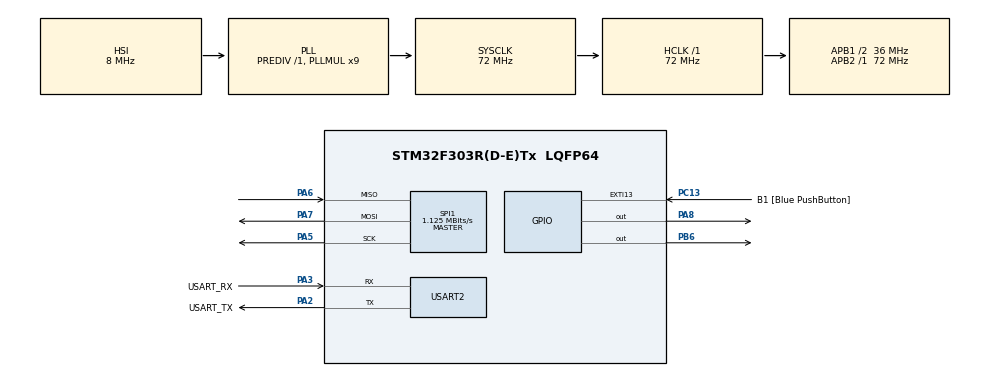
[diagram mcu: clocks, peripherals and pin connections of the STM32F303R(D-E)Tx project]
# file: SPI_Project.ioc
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Mcu.Family=STM32F3
PA2.GPIO_PuPd=GPIO_NOPULL
PA6.Mode=Full_Duplex_Master
RCC.CortexFreq_Value=72000000
SPI1.VirtualType=VM_MASTER
PA14.GPIO_Label=TCK
RCC.SYSCLKSourceVirtual=RCC_SYSCLKSOURCE_PLLCLK
PA3.GPIO_PuPd=GPIO_NOPULL
PA2.GPIO_Speed=GPIO_SPEED_FREQ_LOW
PC13.GPIO_Label=B1 [Blue PushButton]
PA3.GPIO_Speed=GPIO_SPEED_FREQ_LOW
ProjectManager.StackSize=0x400
SPI1.Direction=SPI_DIRECTION_2LINES
RCC.HCLKFreq_Value=72000000
RCC.APB2TimFreq_Value=72000000
PB6.Signal=GPIO_Output
SPI1.CalculateBaudRate=1.125 MBits/s
RCC.AHBFreq_Value=72000000
RCC.HSE_VALUE=8000000
USART2.VirtualMode-Asynchronous=VM_ASYNC
RCC.RCC_PLLsource_Clock_Source_FROM_HSE=RCC_HSE_PREDIV_DIV2
RCC.PLLMUL=RCC_PLL_MUL9
PC14-OSC32_IN.Mode=LSE-External-Oscillator
PA14.Mode=Serial_Wire
SPI1.DataSize=SPI_DATASIZE_8BIT
PA8.Signal=GPIO_Output
Mcu.Package=LQFP64
PA6.Signal=SPI1_MISO
PA2.GPIO_Label=USART_TX
RCC.APB1TimFreq_Value=72000000
SPI1.BaudRatePrescaler=SPI_BAUDRATEPRESCALER_64
PF1-OSC_OUT.Signal=RCC_OSC_OUT
PA3.Signal=USART2_RX
PA5.Mode=Full_Duplex_Master
PA2.GPIO_Mode=GPIO_MODE_AF_PP
PB3.GPIO_Label=SWO
PC15-OSC32_OUT.Mode=LSE-External-Oscillator
PA7.Mode=Full_Duplex_Master
PC13.Signal=GPXTI13
RCC.APB1CLKDivider=RCC_HCLK_DIV2
PC14-OSC32_IN.Signal=RCC_OSC32_IN
PA3.Mode=Asynchronous
PA13.Signal=SYS_JTMS-SWDIO
ProjectManager.TargetToolchain=STM32CubeIDE
PA3.GPIO_Mode=GPIO_MODE_AF_PP
RCC.USBFreq_Value=72000000
PC15-OSC32_OUT.Signal=RCC_OSC32_OUT
PF0-OSC_IN.Mode=HSE-External-Clock-Source
PA5.Signal=SPI1_SCK
board=NUCLEO-F303RE
RCC.APB2Freq_Value=72000000
SPI1.Mode=SPI_MODE_MASTER
PA13.Mode=Serial_Wire
Mcu.Name=STM32F303R(D-E)Tx
SPI1.NSSPMode=SPI_NSS_PULSE_DISABLE
PA13.GPIO_Label=TMS
PA2.Signal=USART2_TX
PB3.Signal=SYS_JTDO-TRACESWO
RCC.SYSCLKFreq_VALUE=72000000
PC13.GPIO_ModeDefaultEXTI=GPIO_MODE_IT_FALLING
PA14.Signal=SYS_JTCK-SWCLK
ProjectManager.HeapSize=0x200
RCC.HSI_VALUE=8000000
RCC.PLLP=RCC_PLLP_DIV4
RCC.PLLQ=7
NVIC.PriorityGroup=NVIC_PRIORITYGROUP_0
RCC.PLLM=8
RCC.PLLN=336
PA2.Mode=Asynchronous
PF0-OSC_IN.Signal=RCC_OSC_IN
RCC.APB1Freq_Value=36000000
PA3.GPIO_Label=USART_RX
PA7.Signal=SPI1_MOSI

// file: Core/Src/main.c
/* USER CODE BEGIN Header */
/**
  ******************************************************************************
  * @file           : main.c
  * @brief          : Main program body
  ******************************************************************************
  * @attention
  *
  * <h2><center>&copy; Copyright (c) 2021 STMicroelectronics.
  * All rights reserved.</center></h2>
  *
  * This software component is licensed by ST under BSD 3-Clause license,
  * the "License"; You may not use this file except in compliance with the
  * License. You may obtain a copy of the License at:
  *                        opensource.org/licenses/BSD-3-Clause
  *
  ******************************************************************************
  */

/*                  Description of the Project:
 *                  The aim of the project is to prepare a generic spi_eeprom library by writing a spi_eeprom.h file and a spi_eeprom.c file.
 *                  Emphesis is given on mainly
 *                  1. To write data in a particular memory address and again read the written data from that particular memory address
 *                  2. To write data in a block area of the memory and again read the written data from that memory area
 *                  3. To erase the data of a block area of memory
 *                  4. In each case the status register will return the current status after execution
 *                  5. To detect errors when there are some issues with EEPROM
 *                                                                                         */

/* Facts to be noted:
 *                    1. St M9560W eeprom is a 16kB or 2kilo Bytes memory.
 *                    2. There are in total 64 Pages from 0 to 63.
 *                    3. Each page contains 32bytes that means 32 cells as data is 1byte. 64x32=2048 byte=2kbyte.
 *                    4  The starting address of the memory is 0000h which locates the beginning of the first page
 *                    5. The end address of the memory is 07FFh which locates at the end of the last page
 *                    6. At a time we can write and read 32 bytes maximum as the page size is 32
 *                    7. For sending more than 32 bytes we need page mapping */

/* USER CODE END Header */

#include "main.h"
#include"spi_eeprom.h"
#include "main.h"
#include <stdio.h>
#include<stdlib.h>

SPI_HandleTypeDef hspi1;
UART_HandleTypeDef huart2;

void SystemClock_Config(void);
static void MX_GPIO_Init(void);
static void MX_USART2_UART_Init(void);
static void MX_SPI1_Init(void);

/* USER CODE BEGIN 0 */

uint16_t Start_Add=25;                // Address for write or read buffer
uint8_t  Tx[Max_Size];                //Transmit
uint8_t  Rx[Max_Size];                //recieve
uint16_t Erase_Add=0x00;              // Address to be checked whether it is erased or not
uint16_t Byte_Address= 0xaa;          // Byte address to write one byte
uint8_t  Byte_Data=60;                // Byte that will be written
uint8_t  Recieved_byte;               // Recieved byte after writting

/* USER CODE END 0 */

int main(void)
{
  /* USER CODE BEGIN 1 */
	  char uart_buf[500];
	  int uart_buf_len;

	  for(int i =0; i<Max_Size; i++)
	  {
		  Tx[i]= i+10;
	  }

  /* USER CODE END 1 */

  /* MCU Configuration--------------------------------------------------------*/

  /* Reset of all peripherals, Initializes the Flash interface and the Systick. */
  HAL_Init();

  /* Configure the system clock */
  SystemClock_Config();

  /* Initialize all configured peripherals */
  MX_GPIO_Init();
  MX_USART2_UART_Init();
  MX_SPI1_Init();
  EEPROM_SPI_INIT(&hspi1);
  /* USER CODE BEGIN 2 */

  // Say something
  uart_buf_len = sprintf(uart_buf, "SPI Test\r\n");
  HAL_UART_Transmit(&huart2, (uint8_t *)uart_buf, uart_buf_len, 100);

  // Erase the entire memory
    Erase_memory();
    //print the  address of block memory to be erased
    uart_buf_len = sprintf(uart_buf,"Start address of erase is %x\r\n",Erase_Add);
    HAL_UART_Transmit(&huart2, (uint8_t *)uart_buf, uart_buf_len, 100);

    //Print the value of status register after erasing
    uint8_t Erase_state=Erase_memory();
  uart_buf_len = sprintf(uart_buf,"Statusbyte after erase operation is %x\r\n",Erase_state);
  HAL_UART_Transmit(&huart2, (uint8_t *)uart_buf, uart_buf_len, 100);

    //Check if the memory has been erased or not
  EEread_arry(Erase_Add, &Rx[Erase_Add], 5);

    //print the recieved buffer after erasing
  uart_buf_len = sprintf(uart_buf,"checking buffer after erase is %x %x %x %x %x \r\n",Rx[Erase_Add+0],Rx[Erase_Add+1],Rx[Erase_Add+2],Rx[Erase_Add+3],Rx[Erase_Add+4]);
  HAL_UART_Transmit(&huart2, (uint8_t *)uart_buf, uart_buf_len, 100);

    //write block of memory
  EEPROM_SPI_WriteBuffer(Start_Add,&Tx[Start_Add],1500);

    //print the  address of block memory to be written
  uart_buf_len = sprintf(uart_buf,"Start address of buffer is %x\r\n", Start_Add);
  HAL_UART_Transmit(&huart2, (uint8_t *)uart_buf, uart_buf_len, 100);

    //print the value of status register after write operation
  uint8_t Wr_State=EEPROM_SPI_WriteBuffer(Start_Add,&Tx[Start_Add],1500);
  uart_buf_len = sprintf(uart_buf,"Statusbyte after write operation is %x\r\n",Wr_State);
  HAL_UART_Transmit(&huart2, (uint8_t *)uart_buf, uart_buf_len, 100);

    //read the block of memory that has been written
  EEread_arry(Start_Add,&Rx[Start_Add],1500);

   //print the value of status register after read operation
  uint8_t Re_State= EEread_arry(Start_Add,&Rx[Start_Add],1500);
  uart_buf_len = sprintf(uart_buf,"Statusbyte after read operation is %x\r\n",Re_State);
  HAL_UART_Transmit(&huart2, (uint8_t *)uart_buf, uart_buf_len, 100);

   //print the recieved databuffer
  uart_buf_len = sprintf(uart_buf,"the received buffer is %d %d %d %d %d \r\n",Rx[1110],Rx[1112],Rx[1113],Rx[1114],Rx[1115]);
  HAL_UART_Transmit(&huart2, (uint8_t *)uart_buf, uart_buf_len, 100);

  //print the exact address to be written
   uart_buf_len = sprintf(uart_buf,"the Byte_Address is %x\r\n",Byte_Address);
   HAL_UART_Transmit(&huart2, (uint8_t *)uart_buf, uart_buf_len, 100);

    // Write a byte in a exact address
   EEwrite_byte(Byte_Address,&Byte_Data);

    // Read the byte from an exact address
   EEread_byte(Byte_Address,&Recieved_byte);

    //Recieved_byte=EEPROM_SendByte(Byte_Data);
   printf("the Recieved_byte is %d\r\n",Recieved_byte);

  /* USER CODE END 2 */

  /* Infinite loop */
  /* USER CODE BEGIN WHILE */
  while (1)
  {

  }

}

void SystemClock_Config(void)
{
  RCC_OscInitTypeDef RCC_OscInitStruct = {0};
  RCC_ClkInitTypeDef RCC_ClkInitStruct = {0};
  RCC_PeriphCLKInitTypeDef PeriphClkInit = {0};

  /** Initializes the RCC Oscillators according to the specified parameters
  * in the RCC_OscInitTypeDef structure.
  */
  RCC_OscInitStruct.OscillatorType = RCC_OSCILLATORTYPE_HSI;
  RCC_OscInitStruct.HSIState = RCC_HSI_ON;
  RCC_OscInitStruct.HSICalibrationValue = RCC_HSICALIBRATION_DEFAULT;
  RCC_OscInitStruct.PLL.PLLState = RCC_PLL_ON;
  RCC_OscInitStruct.PLL.PLLSource = RCC_PLLSOURCE_HSI;
  RCC_OscInitStruct.PLL.PLLMUL = RCC_PLL_MUL9;
  RCC_OscInitStruct.PLL.PREDIV = RCC_PREDIV_DIV1;
  if (HAL_RCC_OscConfig(&RCC_OscInitStruct) != HAL_OK)
  {
    Error_Handler();
  }
  /** Initializes the CPU, AHB and APB buses clocks
  */
  RCC_ClkInitStruct.ClockType = RCC_CLOCKTYPE_HCLK|RCC_CLOCKTYPE_SYSCLK
                              |RCC_CLOCKTYPE_PCLK1|RCC_CLOCKTYPE_PCLK2;
  RCC_ClkInitStruct.SYSCLKSource = RCC_SYSCLKSOURCE_PLLCLK;
  RCC_ClkInitStruct.AHBCLKDivider = RCC_SYSCLK_DIV1;
  RCC_ClkInitStruct.APB1CLKDivider = RCC_HCLK_DIV2;
  RCC_ClkInitStruct.APB2CLKDivider = RCC_HCLK_DIV1;

  if (HAL_RCC_ClockConfig(&RCC_ClkInitStruct, FLASH_LATENCY_2) != HAL_OK)
  {
    Error_Handler();
  }
  PeriphClkInit.PeriphClockSelection = RCC_PERIPHCLK_USART2;
  PeriphClkInit.Usart2ClockSelection = RCC_USART2CLKSOURCE_PCLK1;
  if (HAL_RCCEx_PeriphCLKConfig(&PeriphClkInit) != HAL_OK)
  {
    Error_Handler();
  }

}

static void MX_SPI1_Init(void)
{

  /* SPI1 parameter configuration*/
  hspi1.Instance = SPI1;
  hspi1.Init.Mode = SPI_MODE_MASTER;
  hspi1.Init.Direction = SPI_DIRECTION_2LINES;
  hspi1.Init.DataSize = SPI_DATASIZE_8BIT;
  hspi1.Init.CLKPolarity = SPI_POLARITY_LOW;
  hspi1.Init.CLKPhase = SPI_PHASE_1EDGE;
  hspi1.Init.NSS = SPI_NSS_SOFT;
  hspi1.Init.BaudRatePrescaler = SPI_BAUDRATEPRESCALER_8;
  hspi1.Init.FirstBit = SPI_FIRSTBIT_MSB;
  hspi1.Init.TIMode = SPI_TIMODE_DISABLE;
  hspi1.Init.CRCCalculation = SPI_CRCCALCULATION_DISABLE;
  hspi1.Init.CRCPolynomial = 7;
  hspi1.Init.CRCLength = SPI_CRC_LENGTH_DATASIZE;
  hspi1.Init.NSSPMode = SPI_NSS_PULSE_DISABLE;
  if (HAL_SPI_Init(&hspi1) != HAL_OK)
  {
    Error_Handler();
  }

}

static void MX_USART2_UART_Init(void)
{

  huart2.Instance = USART2;
  huart2.Init.BaudRate = 115200;
  huart2.Init.WordLength = UART_WORDLENGTH_8B;
  huart2.Init.StopBits = UART_STOPBITS_1;
  huart2.Init.Parity = UART_PARITY_NONE;
  huart2.Init.Mode = UART_MODE_TX_RX;
  huart2.Init.HwFlowCtl = UART_HWCONTROL_NONE;
  huart2.Init.OverSampling = UART_OVERSAMPLING_16;
  huart2.Init.OneBitSampling = UART_ONE_BIT_SAMPLE_DISABLE;
  huart2.AdvancedInit.AdvFeatureInit = UART_ADVFEATURE_NO_INIT;
  if (HAL_UART_Init(&huart2) != HAL_OK)
  {
    Error_Handler();
  }

}

static void MX_GPIO_Init(void)
{
  GPIO_InitTypeDef GPIO_InitStruct = {0};

  /* GPIO Ports Clock Enable */
  __HAL_RCC_GPIOC_CLK_ENABLE();
  __HAL_RCC_GPIOF_CLK_ENABLE();
  __HAL_RCC_GPIOA_CLK_ENABLE();
  __HAL_RCC_GPIOB_CLK_ENABLE();

  /*Configure GPIO pin Output Level */
  HAL_GPIO_WritePin(GPIOA, GPIO_PIN_8, GPIO_PIN_RESET);

  /*Configure GPIO pin Output Level */
  HAL_GPIO_WritePin(GPIOB, GPIO_PIN_6, GPIO_PIN_RESET);

  /*Configure GPIO pin : B1_Pin */
  GPIO_InitStruct.Pin = B1_Pin;
  GPIO_InitStruct.Mode = GPIO_MODE_IT_FALLING;
  GPIO_InitStruct.Pull = GPIO_NOPULL;
  HAL_GPIO_Init(B1_GPIO_Port, &GPIO_InitStruct);

  /*Configure GPIO pin : PA8 */
  GPIO_InitStruct.Pin = GPIO_PIN_8;
  GPIO_InitStruct.Mode = GPIO_MODE_OUTPUT_PP;
  GPIO_InitStruct.Pull = GPIO_NOPULL;
  GPIO_InitStruct.Speed = GPIO_SPEED_FREQ_LOW;
  HAL_GPIO_Init(GPIOA, &GPIO_InitStruct);

  /*Configure GPIO pin : PB6 */
  GPIO_InitStruct.Pin = GPIO_PIN_6;
  GPIO_InitStruct.Mode = GPIO_MODE_OUTPUT_PP;
  GPIO_InitStruct.Pull = GPIO_NOPULL;
  GPIO_InitStruct.Speed = GPIO_SPEED_FREQ_HIGH;
  HAL_GPIO_Init(GPIOB, &GPIO_InitStruct);

}
/* USER CODE BEGIN 4 */

int __io_putchar(int ch)
{
 uint8_t c[1];
 c[0] = ch & 0x00FF;
 HAL_UART_Transmit(&huart2, &*c, 1, 10);
 return ch;
}

int _write(int file,char *ptr, int len)
{
 int DataIdx;
 for(DataIdx= 0; DataIdx< len; DataIdx++)
 {
 __io_putchar(*ptr++);
 }
return len;
}

/* USER CODE END 4 */

void Error_Handler(void)
{
  __disable_irq();
  while (1)
  {
  }
}

/************************ (C) COPYRIGHT STMicroelectronics *****END OF FILE****/
